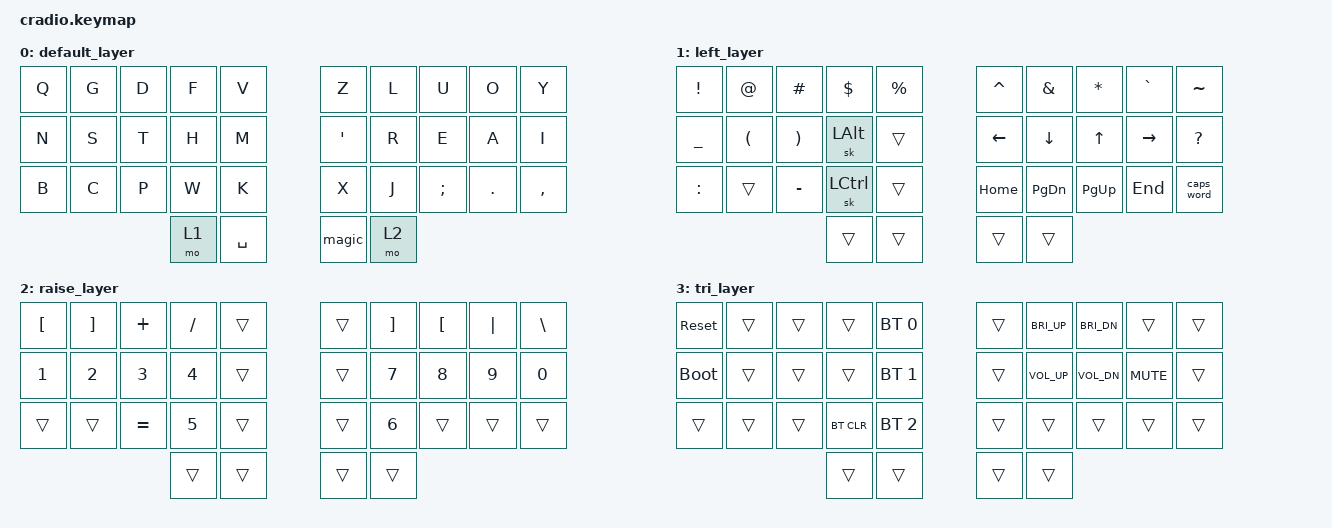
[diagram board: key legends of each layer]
// Copyright (c) 2022 The ZMK Contributors
// SPDX-License-Identifier: MIT

#include <behaviors.dtsi>
#include <dt-bindings/zmk/keys.h>
#include <dt-bindings/zmk/bt.h>

/ {
		combos {
      compatible = "zmk,combos";
      combo_tab {
        timeout-ms = <20>;
        key-positions = <2 3>;
        bindings = <&kp TAB>;
    	};
      combo_esc {
        timeout-ms = <20>;
        key-positions = <2 13>;
        bindings = <&kp ESC>;
    	};
      combo_bspc {
        timeout-ms = <20>;
        key-positions = <16 17>;
        bindings = <&kp LC(BSPC)>;
    	};
      combo_ent {
        timeout-ms = <20>;
        key-positions = <6 7>;
        bindings = <&kp ENTER>;
    	};
		};

    behaviors {
        magic: magic {
            compatible = "zmk,behavior-antecedent-morph";
            label = "MAGIC";
            #binding-cells = <0>;
            defaults = <&kp LSHIFT>;
            bindings =
                <&kp H>,
                <&kp S>,
                <&kp COMMA>,
                <&kp E>,
                <&kp T>,
                <&kp R>,
                <&kp S>,
                <&kp E>,
                <&kp T>,
                <&kp F>,
                <&kp L>,
                <&kp M>,
                <&kp O>,
                <&kp R>,
                <&kp P>,
                <&kp C>,
                <&kp N>,
                <&kp SPACE>;

            max-delay-ms = <200>;
            antecedents = <W G Y U P APOS S E T F L M O R P C N LSHIFT>;
        };
    };
    conditional_layers {
        compatible = "zmk,conditional-layers";
        tri_layer {
            if-layers = <1 2>;
            then-layer = <3>;
        };
    };

    keymap {
        compatible = "zmk,keymap";
        default_layer {
            bindings = <
        //╭──────────┬──────────┬──────────┬──────────┬──────────╮   ╭──────────┬──────────┬──────────┬──────────┬──────────╮
				//  0          1          2          3          4              5          6          7          8          9
            &kp Q      &kp G      &kp D      &kp F      &kp V       &kp Z      &kp L      &kp U      &kp O      &kp Y
        //├──────────┼──────────┼──────────┼──────────┼──────────┤   ├──────────┼──────────┼──────────┼──────────┼──────────┤
				//  10         11         12         13         14             15         16         17         18         19
            &kp N      &kp S      &kp T      &kp H      &kp M          &kp APOS   &kp R      &kp E      &kp A      &kp I
        //├──────────┼──────────┼──────────┼──────────┼──────────┤   ├──────────┼──────────┼──────────┼──────────┼──────────┤
				//  20         21         22         23         24             25         26         27         28         29
            &kp B      &kp C      &kp P      &kp W      &kp K          &kp X      &kp J      &kp SEMI   &kp DOT    &kp COMMA
        //╰──────────┴──────────┴──────────┼──────────┼──────────┤   ├──────────┼──────────┼──────────┴──────────┴──────────╯
				//                                   30         31            32          33
                                             &mo 1      &kp SPACE     &magic      &mo 2
        //                                 ╰──────────┴──────────╯   ╰──────────┴──────────╯
            >;
        };

        left_layer {
            bindings = <
        //╭──────────┬──────────┬──────────┬──────────┬──────────╮   ╭──────────┬──────────┬──────────┬──────────┬──────────╮
            &kp EXCL   &kp AT     &kp HASH   &kp DLLR  &kp PRCNT      &kp CARET  &kp AMPS   &kp ASTRK  &kp GRAVE  &kp TILDE
        //├──────────┼──────────┼──────────┼──────────┼──────────┤   ├──────────┼──────────┼──────────┼──────────┼──────────┤
            &kp UNDER  &kp LPAR   &kp RPAR   &sk LALT  &trans         &kp LEFT   &kp DOWN   &kp UP     &kp RIGHT  &kp QMARK
        //├──────────┼──────────┼──────────┼──────────┼──────────┤   ├──────────┼──────────┼──────────┼──────────┼──────────┤
            &kp COLON  &trans     &kp MINUS  &sk LCTRL &trans         &kp HOME   &kp PG_DN  &kp PG_UP  &kp END    &caps_word
        //╰──────────┴──────────┴──────────┼──────────┼──────────┤   ├──────────┼──────────┼──────────┴──────────┴──────────╯
                                             &trans     &trans         &trans     &trans
        //                                 ╰──────────┴──────────╯   ╰──────────┴──────────╯
            >;
        };

        raise_layer {
            bindings = <
        //╭──────────┬──────────┬──────────┬──────────┬──────────╮   ╭──────────┬──────────┬──────────┬──────────┬──────────╮
            &kp LBKT   &kp RBKT   &kp PLUS   &kp FSLH     &trans         &trans   &kp RBKT   &kp LBKT   &kp PIPE   &kp BSLH
        //├──────────┼──────────┼──────────┼──────────┼──────────┤   ├──────────┼──────────┼──────────┼──────────┼──────────┤
            &kp N1     &kp N2     &kp N3     &kp N4     &trans         &trans     &kp N7     &kp N8     &kp N9     &kp N0
        //├──────────┼──────────┼──────────┼──────────┼──────────┤   ├──────────┼──────────┼──────────┼──────────┼──────────┤
            &trans     &trans     &kp EQUAL  &kp N5    &trans          &trans     &kp N6     &trans     &trans     &trans
        //╰──────────┴──────────┴──────────┼──────────┼──────────┤   ├──────────┼──────────┼──────────┴──────────┴──────────╯
                                             &trans     &trans         &trans     &trans
        //                                 ╰──────────┴──────────╯   ╰──────────┴──────────╯
            >;
        };

        tri_layer {
            bindings = <
        //╭──────────┬──────────┬──────────┬──────────┬──────────╮   ╭──────────┬──────────┬──────────┬──────────┬──────────╮
        //│ RESET    │          │          │          │PROFILE 0 │   │          │          │          │          │          │
           &sys_reset  &trans     &trans     &trans    &bt BT_SEL 0    &trans  &kp C_BRI_UP &kp C_BRI_DN &trans    &trans
        //├──────────┼──────────┼──────────┼──────────┼──────────┤   ├──────────┼──────────┼──────────┼──────────┼──────────┤
        //│BOOTLOADER│          │          │          │PROFILE 1 │   │          │          │          │          │          │
          &bootloader  &trans     &trans     &trans    &bt BT_SEL 1    &trans &kp C_VOL_UP &kp C_VOL_DN &kp C_MUTE &trans
        //├──────────┼──────────┼──────────┼──────────┼──────────┤   ├──────────┼──────────┼──────────┼──────────┼──────────┤
        //│          │          │          │ CLEAR BT │PROFILE 2 │   │          │          │          │          │          │
            &trans     &trans     &trans    &bt BT_CLR &bt BT_SEL 2    &trans     &trans     &trans     &trans     &trans
        //╰──────────┴──────────┴──────────┼──────────┼──────────┤   ├──────────┼──────────┼──────────┴──────────┴──────────╯
                                             &trans     &trans         &trans     &trans
        //                                 ╰──────────┴──────────╯   ╰──────────┴──────────╯
            >;
        };
    };
};
